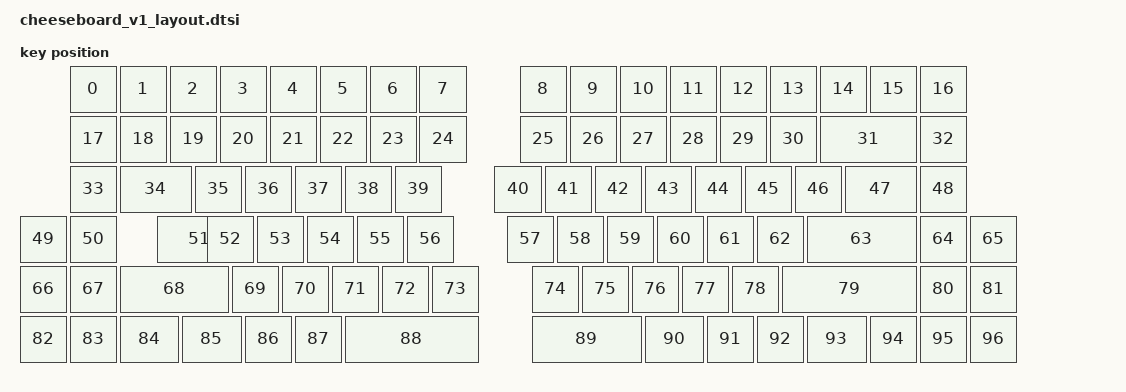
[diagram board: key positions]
#include <physical_layouts.dtsi>

/ {
    transform_base_layout: transform_base_layout {
        compatible = "zmk,physical-layout";
        display-name = "Default Layout";

        keys  //                     w   h    x    y     rot    rx    ry
            = <&key_physical_attrs 100 100  100    0       0     0     0>
            , <&key_physical_attrs 100 100  200    0       0     0     0>
            , <&key_physical_attrs 100 100  300    0       0     0     0>
            , <&key_physical_attrs 100 100  400    0       0     0     0>
            , <&key_physical_attrs 100 100  500    0       0     0     0>
            , <&key_physical_attrs 100 100  600    0       0     0     0>
            , <&key_physical_attrs 100 100  700    0       0     0     0>
            , <&key_physical_attrs 100 100  800    0       0     0     0> // end row 6 L
            , <&key_physical_attrs 100 100 1000    0       0     0     0>
            , <&key_physical_attrs 100 100 1100    0       0     0     0>
            , <&key_physical_attrs 100 100 1200    0       0     0     0>
            , <&key_physical_attrs 100 100 1300    0       0     0     0>
            , <&key_physical_attrs 100 100 1400    0       0     0     0>
            , <&key_physical_attrs 100 100 1500    0       0     0     0>
            , <&key_physical_attrs 100 100 1600    0       0     0     0>
            , <&key_physical_attrs 100 100 1700    0       0     0     0>
            , <&key_physical_attrs 100 100 1800    0       0     0     0> // end row 6 R
            , <&key_physical_attrs 100 100  100  100       0     0     0>
            , <&key_physical_attrs 100 100  200  100       0     0     0>
            , <&key_physical_attrs 100 100  300  100       0     0     0>
            , <&key_physical_attrs 100 100  400  100       0     0     0>
            , <&key_physical_attrs 100 100  500  100       0     0     0>
            , <&key_physical_attrs 100 100  600  100       0     0     0>
            , <&key_physical_attrs 100 100  700  100       0     0     0>
            , <&key_physical_attrs 100 100  800  100       0     0     0> // end row 5 L 
            , <&key_physical_attrs 100 100 1000  100       0     0     0>
            , <&key_physical_attrs 100 100 1100  100       0     0     0>
            , <&key_physical_attrs 100 100 1200  100       0     0     0>
            , <&key_physical_attrs 100 100 1300  100       0     0     0>
            , <&key_physical_attrs 100 100 1400  100       0     0     0>
            , <&key_physical_attrs 100 100 1500  100       0     0     0>
            , <&key_physical_attrs 200 100 1600  100       0     0     0>
            , <&key_physical_attrs 100 100 1800  100       0     0     0> // end row 5 R
            , <&key_physical_attrs 100 100  100  200       0     0     0>
            , <&key_physical_attrs 150 100  200  200       0     0     0>
            , <&key_physical_attrs 100 100  350  200       0     0     0>
            , <&key_physical_attrs 100 100  450  200       0     0     0>
            , <&key_physical_attrs 100 100  550  200       0     0     0>
            , <&key_physical_attrs 100 100  650  200       0     0     0>
            , <&key_physical_attrs 100 100  750  200       0     0     0> // end row 4 L
            , <&key_physical_attrs 100 100  950  200       0     0     0>
            , <&key_physical_attrs 100 100 1050  200       0     0     0>
            , <&key_physical_attrs 100 100 1150  200       0     0     0>
            , <&key_physical_attrs 100 100 1250  200       0     0     0>
            , <&key_physical_attrs 100 100 1350  200       0     0     0>
            , <&key_physical_attrs 100 100 1450  200       0     0     0>
            , <&key_physical_attrs 100 100 1550  200       0     0     0>
            , <&key_physical_attrs 150 100 1650  200       0     0     0>
            , <&key_physical_attrs 100 100 1800  200       0     0     0> // end row 4 R
            , <&key_physical_attrs 100 100    0  300       0     0     0>
            , <&key_physical_attrs 100 100  100  300       0     0     0>
            , <&key_physical_attrs 175 100  275  300       0     0     0>
            , <&key_physical_attrs 100 100  375  300       0     0     0>
            , <&key_physical_attrs 100 100  475  300       0     0     0>
            , <&key_physical_attrs 100 100  575  300       0     0     0>
            , <&key_physical_attrs 100 100  675  300       0     0     0>
            , <&key_physical_attrs 100 100  775  300       0     0     0> // end row 3 L
            , <&key_physical_attrs 100 100  975  300       0     0     0>
            , <&key_physical_attrs 100 100 1075  300       0     0     0>
            , <&key_physical_attrs 100 100 1175  300       0     0     0>
            , <&key_physical_attrs 100 100 1275  300       0     0     0>
            , <&key_physical_attrs 100 100 1375  300       0     0     0>
            , <&key_physical_attrs 100 100 1475  300       0     0     0>
            , <&key_physical_attrs 225 100 1575  300       0     0     0>
            , <&key_physical_attrs 100 100 1800  300       0     0     0>
            , <&key_physical_attrs 100 100 1900  300       0     0     0> // end row 3 R
            , <&key_physical_attrs 100 100    0  400       0     0     0>
            , <&key_physical_attrs 100 100  100  400       0     0     0>
            , <&key_physical_attrs 225 100  200  400       0     0     0>
            , <&key_physical_attrs 100 100  425  400       0     0     0>
            , <&key_physical_attrs 100 100  525  400       0     0     0>
            , <&key_physical_attrs 100 100  625  400       0     0     0>
            , <&key_physical_attrs 100 100  725  400       0     0     0>
            , <&key_physical_attrs 100 100  825  400       0     0     0> // end row 2 L
            , <&key_physical_attrs 100 100 1025  400       0     0     0>
            , <&key_physical_attrs 100 100 1125  400       0     0     0>
            , <&key_physical_attrs 100 100 1225  400       0     0     0>
            , <&key_physical_attrs 100 100 1325  400       0     0     0>
            , <&key_physical_attrs 100 100 1425  400       0     0     0>
            , <&key_physical_attrs 275 100 1525  400       0     0     0>
            , <&key_physical_attrs 100 100 1800  400       0     0     0>
            , <&key_physical_attrs 100 100 1900  400       0     0     0> // end row 2 R
            , <&key_physical_attrs 100 100    0  500       0     0     0>
            , <&key_physical_attrs 100 100  100  500       0     0     0>
            , <&key_physical_attrs 125 100  200  500       0     0     0>
            , <&key_physical_attrs 125 100  325  500       0     0     0>
            , <&key_physical_attrs 100 100  450  500       0     0     0>
            , <&key_physical_attrs 100 100  550  500       0     0     0>
            , <&key_physical_attrs 275 100  650  500       0     0     0> // end row 1 L
            , <&key_physical_attrs 225 100 1025  500       0     0     0>
            , <&key_physical_attrs 125 100 1250  500       0     0     0>
            , <&key_physical_attrs 100 100 1375  500       0     0     0>
            , <&key_physical_attrs 100 100 1475  500       0     0     0>
            , <&key_physical_attrs 125 100 1575  500       0     0     0>
            , <&key_physical_attrs 100 100 1700  500       0     0     0>
            , <&key_physical_attrs 100 100 1800  500       0     0     0>
            , <&key_physical_attrs 100 100 1900  500       0     0     0> // end row 1 R
            ;
    };
};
